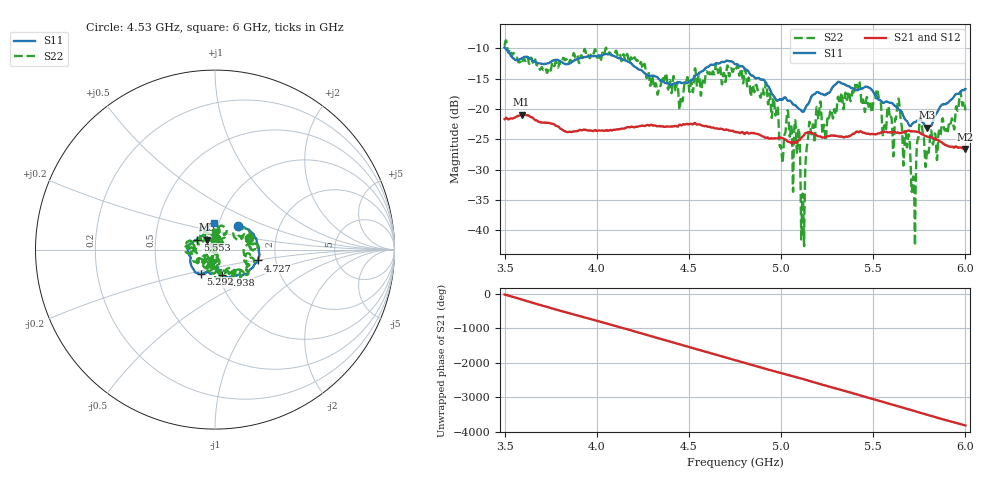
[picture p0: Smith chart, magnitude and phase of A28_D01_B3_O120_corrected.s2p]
! Created with skrf 1.9.0 (http://scikit-rf.org).
# Hz S RI R 50.0
!freq ReS11 ImS11 ReS21 ImS21 ReS12 ImS12 ReS22 ImS22
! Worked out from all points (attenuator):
!   1601 points, 3.5 GHz to 6 GHz, reference 50 ohm
!   highest |S21| = -20.97 dB at 3.592 GHz (marker M1); lowest = -26.6 dB at 6 GHz (marker M2)
!   lowest |S11| = -23.1 dB at 5.791 GHz (marker M3), VSWR 1.15, Z = 45.6 + j5.03 ohm
!   |S11| at or under -10 dB: 3.503 GHz to end of sweep
!   |S22| runs from -42.6 to -8.7 dB; largest |S21 - S12| = 0.0013
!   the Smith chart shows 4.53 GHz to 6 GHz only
!   S11 on the Smith chart (normalised r, x): 4.53 GHz: 1.25, +0.33; 4.727 GHz: 1.61, -0.21; 4.938 GHz: 1.04, -0.30; 5.292 GHz: 0.82, -0.23; 5.553 GHz: 0.82, +0.09; 6 GHz: 0.95, +0.28
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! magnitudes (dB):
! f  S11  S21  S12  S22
! 3.5 GHz  -9.9  -21.7  -21.7  -9.6
! 3.592 GHz  -11.7  -21.0  -21.0  -12.6
! 3.917 GHz  -11.6  -23.5  -23.5  -11.2
! 4.334 GHz  -15.0  -22.8  -22.8  -17.1
! 4.53 GHz  -14.7  -22.3  -22.4  -14.0
! 4.727 GHz  -12.1  -23.6  -23.5  -13.5
! 4.75 GHz  -12.6  -23.8  -23.8  -13.3
! 4.938 GHz  -16.6  -24.9  -24.9  -17.5
! 5.003 GHz  -18.5  -24.8  -24.8  -27.5
! 5.088 GHz  -19.7  -25.4  -25.4  -26.9
! 5.117 GHz  -20.5  -24.6  -24.5  -34.0
! 5.145 GHz  -19.3  -23.9  -23.9  -25.1
! 5.167 GHz  -17.8  -24.0  -23.9  -23.8
! 5.292 GHz  -16.1  -24.4  -24.4  -20.3
! 5.416 GHz  -16.9  -23.8  -23.8  -16.7
! 5.553 GHz  -19.0  -23.8  -23.8  -24.3
! 5.584 GHz  -19.0  -23.9  -23.9  -19.9
! 5.641 GHz  -20.1  -24.0  -24.0  -18.9
! 5.717 GHz  -22.3  -23.7  -23.7  -31.1
! 5.752 GHz  -21.9  -23.9  -23.9  -21.7
! 5.791 GHz  -23.1  -24.5  -24.5  -27.2
! 6 GHz  -16.7  -26.6  -26.6  -20.3
